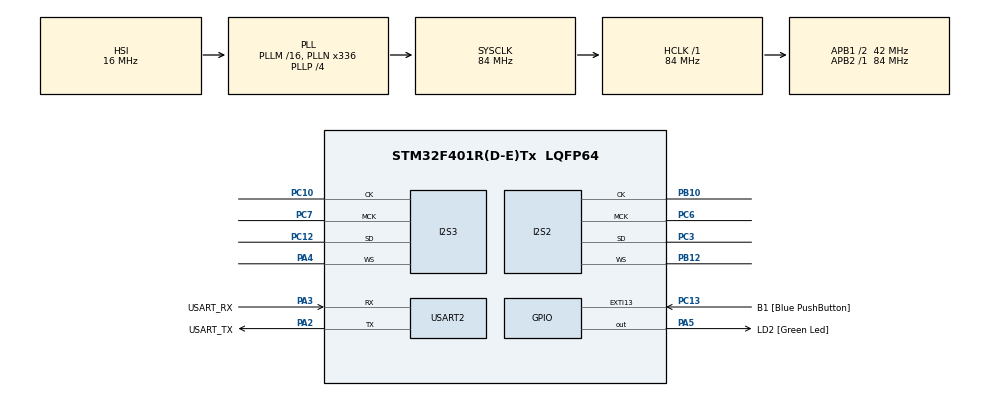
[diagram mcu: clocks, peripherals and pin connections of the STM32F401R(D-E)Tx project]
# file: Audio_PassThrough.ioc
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Dma.Request0=SPI2_TX
Dma.Request1=SPI3_RX
Dma.SPI2_TX.0.Direction=DMA_MEMORY_TO_PERIPH
Dma.SPI2_TX.0.FIFOMode=DMA_FIFOMODE_DISABLE
Dma.SPI2_TX.0.Instance=DMA1_Stream4
Dma.SPI2_TX.0.MemDataAlignment=DMA_MDATAALIGN_HALFWORD
Dma.SPI2_TX.0.MemInc=DMA_MINC_ENABLE
Dma.SPI2_TX.0.Mode=DMA_CIRCULAR
Dma.SPI2_TX.0.PeriphDataAlignment=DMA_PDATAALIGN_HALFWORD
Dma.SPI2_TX.0.PeriphInc=DMA_PINC_DISABLE
Dma.SPI2_TX.0.Priority=DMA_PRIORITY_LOW
Dma.SPI3_RX.1.Direction=DMA_PERIPH_TO_MEMORY
Dma.SPI3_RX.1.FIFOMode=DMA_FIFOMODE_DISABLE
Dma.SPI3_RX.1.Instance=DMA1_Stream0
Dma.SPI3_RX.1.MemDataAlignment=DMA_MDATAALIGN_HALFWORD
Dma.SPI3_RX.1.MemInc=DMA_MINC_ENABLE
Dma.SPI3_RX.1.Mode=DMA_CIRCULAR
Dma.SPI3_RX.1.PeriphDataAlignment=DMA_PDATAALIGN_HALFWORD
Dma.SPI3_RX.1.PeriphInc=DMA_PINC_DISABLE
Dma.SPI3_RX.1.Priority=DMA_PRIORITY_LOW
I2S2.DataFormat=I2S_DATAFORMAT_16B_EXTENDED
I2S2.ErrorAudioFreq=-0.27 %
I2S2.FullDuplexMode=I2S_FULLDUPLEXMODE_DISABLE
I2S2.Instance=SPI$Index
I2S2.Mode=I2S_MODE_MASTER_TX
I2S2.RealAudioFreq=7.978 KHz
I2S2.VirtualMode=I2S_MODE_MASTER
I2S3.DataFormat=I2S_DATAFORMAT_16B_EXTENDED
I2S3.ErrorAudioFreq=-0.27 %
I2S3.FullDuplexMode=I2S_FULLDUPLEXMODE_DISABLE
I2S3.Instance=SPI$Index
I2S3.Mode=I2S_MODE_MASTER_RX
I2S3.RealAudioFreq=7.978 KHz
I2S3.VirtualMode=I2S_MODE_MASTER
Mcu.Family=STM32F4
Mcu.Name=STM32F401R(D-E)Tx
Mcu.Package=LQFP64
NVIC.DMA1_Stream0_IRQn=true\:0\:0\:false\:false\:true\:false\:true\:true
NVIC.DMA1_Stream4_IRQn=true\:0\:0\:false\:false\:true\:false\:true\:true
NVIC.PriorityGroup=NVIC_PRIORITYGROUP_0
PA13.GPIO_Label=TMS
PA13.Mode=Serial_Wire
PA13.Signal=SYS_JTMS-SWDIO
PA14.GPIO_Label=TCK
PA14.Mode=Serial_Wire
PA14.Signal=SYS_JTCK-SWCLK
PA2.GPIO_Label=USART_TX
PA2.GPIO_Mode=GPIO_MODE_AF_PP
PA2.GPIO_PuPd=GPIO_NOPULL
PA2.GPIO_Speed=GPIO_SPEED_FREQ_LOW
PA2.Mode=Asynchronous
PA2.Signal=USART2_TX
PA3.GPIO_Label=USART_RX
PA3.GPIO_Mode=GPIO_MODE_AF_PP
PA3.GPIO_PuPd=GPIO_NOPULL
PA3.GPIO_Speed=GPIO_SPEED_FREQ_LOW
PA3.Mode=Asynchronous
PA3.Signal=USART2_RX
PA4.Mode=Half_Duplex_Master
PA4.Signal=I2S3_WS
PA5.GPIO_Label=LD2 [Green Led]
PA5.GPIO_Mode=GPIO_MODE_OUTPUT_PP
PA5.GPIO_PuPd=GPIO_NOPULL
PA5.GPIO_Speed=GPIO_SPEED_FREQ_LOW
PA5.Signal=GPIO_Output
PB10.Mode=Half_Duplex_Master
PB10.Signal=I2S2_CK
PB12.Mode=Half_Duplex_Master
PB12.Signal=I2S2_WS
PB3.GPIO_Label=SWO
PB3.Signal=SYS_JTDO-SWO
PC10.Mode=Half_Duplex_Master
PC10.Signal=I2S3_CK
PC12.Mode=Half_Duplex_Master
PC12.Signal=I2S3_SD
PC13-ANTI_TAMP.GPIO_Label=B1 [Blue PushButton]
PC13-ANTI_TAMP.GPIO_ModeDefaultEXTI=GPIO_MODE_IT_FALLING
PC13-ANTI_TAMP.GPIO_PuPd=GPIO_NOPULL
PC13-ANTI_TAMP.Signal=GPXTI13
PC14-OSC32_IN.Mode=LSE-External-Oscillator
PC14-OSC32_IN.Signal=RCC_OSC32_IN
PC15-OSC32_OUT.Mode=LSE-External-Oscillator
PC15-OSC32_OUT.Signal=RCC_OSC32_OUT
PC3.Mode=Half_Duplex_Master
PC3.Signal=I2S2_SD
PC6.Mode=Master_Clock_Activated
PC6.Signal=I2S2_MCK
PC7.Mode=Master_Clock_Activated
PC7.Signal=I2S3_MCK
PH0\ -\ OSC_IN.Mode=HSE-External-Clock-Source
PH0\ -\ OSC_IN.Signal=RCC_OSC_IN
PH1\ -\ OSC_OUT.Mode=HSE-External-Clock-Source
PH1\ -\ OSC_OUT.Signal=RCC_OSC_OUT
ProjectManager.HeapSize=0x200
ProjectManager.StackSize=0x400
ProjectManager.TargetToolchain=STM32CubeIDE
RCC.48MHZClocksFreq_Value=48000000
RCC.AHBFreq_Value=84000000
RCC.APB1CLKDivider=RCC_HCLK_DIV2
RCC.APB1Freq_Value=42000000
RCC.APB1TimFreq_Value=84000000
RCC.APB2Freq_Value=84000000
RCC.APB2TimFreq_Value=84000000
RCC.CortexFreq_Value=84000000
RCC.HCLKFreq_Value=84000000
RCC.HSE_VALUE=8000000
RCC.HSI_VALUE=16000000
RCC.PLLN=336
RCC.PLLP=RCC_PLLP_DIV4
RCC.PLLQ=7
RCC.SYSCLKFreq_VALUE=84000000
RCC.SYSCLKSource=RCC_SYSCLKSOURCE_PLLCLK
RCC.VCOOutputFreq_Value=336000000
USART2.VirtualMode=VM_ASYNC
board=NUCLEO-F401RE

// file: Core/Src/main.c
/* USER CODE BEGIN Header */
/**
  ******************************************************************************
  * @file           : main.c
  * @brief          : Main program body
  ******************************************************************************
  * @attention
  *
  * Copyright (c) 2023 STMicroelectronics.
  * All rights reserved.
  *
  * This software is licensed under terms that can be found in the LICENSE file
  * in the root directory of this software component.
  * If no LICENSE file comes with this software, it is provided AS-IS.
  *
  ******************************************************************************
  */
/* USER CODE END Header */
#include "main.h"

/* USER CODE BEGIN PD */
#define SAMPLE_PER_FRAME 2
#define FRAME_PER_BUFFER 32

#define BUFFER_SIZE (FRAME_PER_BUFFER*SAMPLE_PER_FRAME)
#define DOUBLE_BUFFER_I2S (2*BUFFER_SIZE)
/* USER CODE END PD */

I2S_HandleTypeDef hi2s2;
I2S_HandleTypeDef hi2s3;
DMA_HandleTypeDef hdma_spi2_tx;
DMA_HandleTypeDef hdma_spi3_rx;

UART_HandleTypeDef huart2;

/* USER CODE BEGIN PV */
int16_t dataIn[DOUBLE_BUFFER_I2S];
int16_t dataOut[DOUBLE_BUFFER_I2S];
/* USER CODE END PV */

void SystemClock_Config(void);
void PeriphCommonClock_Config(void);
static void MX_GPIO_Init(void);
static void MX_DMA_Init(void);
static void MX_USART2_UART_Init(void);
static void MX_I2S2_Init(void);
static void MX_I2S3_Init(void);
/* USER CODE BEGIN PFP */
void process(int16_t *bufferInStereo, int16_t *bufferOutStereo, uint16_t size);
void HAL_I2S_RxHalfCpltCallback(I2S_HandleTypeDef *hi2s) {
}

void HAL_I2S_RxCpltCallback(I2S_HandleTypeDef *hi2s) {
}

void HAL_I2S_TxHalfCpltCallback(I2S_HandleTypeDef *hi2s) {
    process(dataIn, dataOut, BUFFER_SIZE);
}

void HAL_I2S_TxCpltCallback(I2S_HandleTypeDef *hi2s) {
    process(&dataIn[BUFFER_SIZE], &dataOut[BUFFER_SIZE], BUFFER_SIZE);
}
/* USER CODE END PFP */

int main(void)
{

  /* MCU Configuration--------------------------------------------------------*/

  /* Reset of all peripherals, Initializes the Flash interface and the Systick. */
  HAL_Init();

  /* Configure the system clock */
  SystemClock_Config();

/* Configure the peripherals common clocks */
  PeriphCommonClock_Config();

  /* Initialize all configured peripherals */
  MX_GPIO_Init();
  MX_DMA_Init();
  MX_USART2_UART_Init();
  MX_I2S2_Init();
  MX_I2S3_Init();
  /* USER CODE BEGIN 2 */
  HAL_I2S_Transmit_DMA(&hi2s2, (uint16_t *) dataOut, DOUBLE_BUFFER_I2S);
  HAL_I2S_Receive_DMA(&hi2s3, (uint16_t *) dataIn, DOUBLE_BUFFER_I2S);
  /* USER CODE END 2 */

  /* Infinite loop */
  while (1)
  {

  }
}

void SystemClock_Config(void)
{
  RCC_OscInitTypeDef RCC_OscInitStruct = {0};
  RCC_ClkInitTypeDef RCC_ClkInitStruct = {0};

  /** Configure the main internal regulator output voltage
  */
  __HAL_RCC_PWR_CLK_ENABLE();
  __HAL_PWR_VOLTAGESCALING_CONFIG(PWR_REGULATOR_VOLTAGE_SCALE2);

  /** Initializes the RCC Oscillators according to the specified parameters
  * in the RCC_OscInitTypeDef structure.
  */
  RCC_OscInitStruct.OscillatorType = RCC_OSCILLATORTYPE_HSI;
  RCC_OscInitStruct.HSIState = RCC_HSI_ON;
  RCC_OscInitStruct.HSICalibrationValue = RCC_HSICALIBRATION_DEFAULT;
  RCC_OscInitStruct.PLL.PLLState = RCC_PLL_ON;
  RCC_OscInitStruct.PLL.PLLSource = RCC_PLLSOURCE_HSI;
  RCC_OscInitStruct.PLL.PLLM = 16;
  RCC_OscInitStruct.PLL.PLLN = 336;
  RCC_OscInitStruct.PLL.PLLP = RCC_PLLP_DIV4;
  RCC_OscInitStruct.PLL.PLLQ = 7;
  if (HAL_RCC_OscConfig(&RCC_OscInitStruct) != HAL_OK)
  {
    Error_Handler();
  }

  /** Initializes the CPU, AHB and APB buses clocks
  */
  RCC_ClkInitStruct.ClockType = RCC_CLOCKTYPE_HCLK|RCC_CLOCKTYPE_SYSCLK
                              |RCC_CLOCKTYPE_PCLK1|RCC_CLOCKTYPE_PCLK2;
  RCC_ClkInitStruct.SYSCLKSource = RCC_SYSCLKSOURCE_PLLCLK;
  RCC_ClkInitStruct.AHBCLKDivider = RCC_SYSCLK_DIV1;
  RCC_ClkInitStruct.APB1CLKDivider = RCC_HCLK_DIV2;
  RCC_ClkInitStruct.APB2CLKDivider = RCC_HCLK_DIV1;

  if (HAL_RCC_ClockConfig(&RCC_ClkInitStruct, FLASH_LATENCY_2) != HAL_OK)
  {
    Error_Handler();
  }
}

void PeriphCommonClock_Config(void)
{
  RCC_PeriphCLKInitTypeDef PeriphClkInitStruct = {0};

  /** Initializes the peripherals clock
  */
  PeriphClkInitStruct.PeriphClockSelection = RCC_PERIPHCLK_I2S;
  PeriphClkInitStruct.PLLI2S.PLLI2SN = 192;
  PeriphClkInitStruct.PLLI2S.PLLI2SR = 2;
  if (HAL_RCCEx_PeriphCLKConfig(&PeriphClkInitStruct) != HAL_OK)
  {
    Error_Handler();
  }
}

static void MX_I2S2_Init(void)
{

  hi2s2.Instance = SPI2;
  hi2s2.Init.Mode = I2S_MODE_MASTER_TX;
  hi2s2.Init.Standard = I2S_STANDARD_PHILIPS;
  hi2s2.Init.DataFormat = I2S_DATAFORMAT_16B_EXTENDED;
  hi2s2.Init.MCLKOutput = I2S_MCLKOUTPUT_ENABLE;
  hi2s2.Init.AudioFreq = I2S_AUDIOFREQ_8K;
  hi2s2.Init.CPOL = I2S_CPOL_LOW;
  hi2s2.Init.ClockSource = I2S_CLOCK_PLL;
  hi2s2.Init.FullDuplexMode = I2S_FULLDUPLEXMODE_DISABLE;
  if (HAL_I2S_Init(&hi2s2) != HAL_OK)
  {
    Error_Handler();
  }

}

static void MX_I2S3_Init(void)
{

  hi2s3.Instance = SPI3;
  hi2s3.Init.Mode = I2S_MODE_MASTER_RX;
  hi2s3.Init.Standard = I2S_STANDARD_PHILIPS;
  hi2s3.Init.DataFormat = I2S_DATAFORMAT_16B_EXTENDED;
  hi2s3.Init.MCLKOutput = I2S_MCLKOUTPUT_ENABLE;
  hi2s3.Init.AudioFreq = I2S_AUDIOFREQ_8K;
  hi2s3.Init.CPOL = I2S_CPOL_LOW;
  hi2s3.Init.ClockSource = I2S_CLOCK_PLL;
  hi2s3.Init.FullDuplexMode = I2S_FULLDUPLEXMODE_DISABLE;
  if (HAL_I2S_Init(&hi2s3) != HAL_OK)
  {
    Error_Handler();
  }

}

static void MX_USART2_UART_Init(void)
{

  huart2.Instance = USART2;
  huart2.Init.BaudRate = 115200;
  huart2.Init.WordLength = UART_WORDLENGTH_8B;
  huart2.Init.StopBits = UART_STOPBITS_1;
  huart2.Init.Parity = UART_PARITY_NONE;
  huart2.Init.Mode = UART_MODE_TX_RX;
  huart2.Init.HwFlowCtl = UART_HWCONTROL_NONE;
  huart2.Init.OverSampling = UART_OVERSAMPLING_16;
  if (HAL_UART_Init(&huart2) != HAL_OK)
  {
    Error_Handler();
  }

}

static void MX_DMA_Init(void)
{

  /* DMA controller clock enable */
  __HAL_RCC_DMA1_CLK_ENABLE();

  /* DMA interrupt init */
  /* DMA1_Stream0_IRQn interrupt configuration */
  HAL_NVIC_SetPriority(DMA1_Stream0_IRQn, 0, 0);
  HAL_NVIC_EnableIRQ(DMA1_Stream0_IRQn);
  /* DMA1_Stream4_IRQn interrupt configuration */
  HAL_NVIC_SetPriority(DMA1_Stream4_IRQn, 0, 0);
  HAL_NVIC_EnableIRQ(DMA1_Stream4_IRQn);

}

static void MX_GPIO_Init(void)
{
  GPIO_InitTypeDef GPIO_InitStruct = {0};

  /* GPIO Ports Clock Enable */
  __HAL_RCC_GPIOC_CLK_ENABLE();
  __HAL_RCC_GPIOH_CLK_ENABLE();
  __HAL_RCC_GPIOA_CLK_ENABLE();
  __HAL_RCC_GPIOB_CLK_ENABLE();

  /*Configure GPIO pin Output Level */
  HAL_GPIO_WritePin(LD2_GPIO_Port, LD2_Pin, GPIO_PIN_RESET);

  /*Configure GPIO pin : B1_Pin */
  GPIO_InitStruct.Pin = B1_Pin;
  GPIO_InitStruct.Mode = GPIO_MODE_IT_FALLING;
  GPIO_InitStruct.Pull = GPIO_NOPULL;
  HAL_GPIO_Init(B1_GPIO_Port, &GPIO_InitStruct);

  /*Configure GPIO pin : LD2_Pin */
  GPIO_InitStruct.Pin = LD2_Pin;
  GPIO_InitStruct.Mode = GPIO_MODE_OUTPUT_PP;
  GPIO_InitStruct.Pull = GPIO_NOPULL;
  GPIO_InitStruct.Speed = GPIO_SPEED_FREQ_LOW;
  HAL_GPIO_Init(LD2_GPIO_Port, &GPIO_InitStruct);

}

/* USER CODE BEGIN 4 */
void inline process(int16_t *bufferInStereo, int16_t *bufferOutStereo, uint16_t size) {
    // Strictly copying input to output
    for (uint16_t i = 0; i < size; i++) {
    	bufferOutStereo[i] = bufferInStereo[i]; // Here copy input buffer to output buffer
    }
}
/* USER CODE END 4 */

void Error_Handler(void)
{
  __disable_irq();
  while (1)
  {
  }
}
